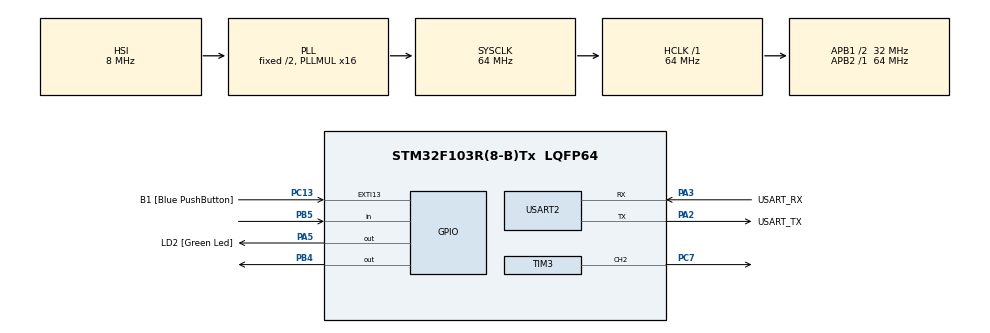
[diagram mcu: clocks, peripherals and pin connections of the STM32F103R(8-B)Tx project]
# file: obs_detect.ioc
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Mcu.Family=STM32F1
Mcu.Name=STM32F103R(8-B)Tx
Mcu.Package=LQFP64
NVIC.EXTI15_10_IRQn=true\:0\:0\:false\:false\:true\:true\:true\:true
NVIC.PriorityGroup=NVIC_PRIORITYGROUP_4
PA13.GPIO_Label=TMS
PA13.Mode=Serial_Wire
PA13.Signal=SYS_JTMS-SWDIO
PA14.GPIO_Label=TCK
PA14.Mode=Serial_Wire
PA14.Signal=SYS_JTCK-SWCLK
PA2.GPIO_Label=USART_TX
PA2.GPIO_Mode=GPIO_MODE_AF_PP
PA2.GPIO_PuPd=GPIO_NOPULL
PA2.GPIO_Speed=GPIO_SPEED_FREQ_LOW
PA2.Mode=Asynchronous
PA2.Signal=USART2_TX
PA3.GPIO_Label=USART_RX
PA3.GPIO_Mode=GPIO_MODE_AF_PP
PA3.GPIO_PuPd=GPIO_NOPULL
PA3.GPIO_Speed=GPIO_SPEED_FREQ_LOW
PA3.Mode=Asynchronous
PA3.Signal=USART2_RX
PA5.GPIO_Label=LD2 [Green Led]
PA5.GPIO_ModeDefaultOutputPP=GPIO_MODE_OUTPUT_PP
PA5.GPIO_PuPd=GPIO_NOPULL
PA5.GPIO_Speed=GPIO_SPEED_FREQ_LOW
PA5.Signal=GPIO_Output
PB3.GPIO_Label=SWO
PB3.Signal=SYS_JTDO-TRACESWO
PB4.Signal=GPIO_Output
PB5.Signal=GPIO_Input
PC13-TAMPER-RTC.GPIO_Label=B1 [Blue PushButton]
PC13-TAMPER-RTC.GPIO_PuPd=GPIO_NOPULL
PC13-TAMPER-RTC.Signal=GPXTI13
PC14-OSC32_IN.Signal=RCC_OSC32_IN
PC15-OSC32_OUT.Signal=RCC_OSC32_OUT
PC7.Signal=S_TIM3_CH2
PD0-OSC_IN.Signal=RCC_OSC_IN
PD1-OSC_OUT.Signal=RCC_OSC_OUT
ProjectManager.HeapSize=0x200
ProjectManager.StackSize=0x400
ProjectManager.TargetToolchain=STM32CubeIDE
RCC.AHBFreq_Value=64000000
RCC.APB1CLKDivider=RCC_HCLK_DIV2
RCC.APB1Freq_Value=32000000
RCC.APB1TimFreq_Value=64000000
RCC.APB2Freq_Value=64000000
RCC.APB2TimFreq_Value=64000000
RCC.HCLKFreq_Value=64000000
RCC.PLLMUL=RCC_PLL_MUL16
RCC.RTCClockSelection=RCC_RTCCLKSOURCE_LSE
RCC.SYSCLKFreq_VALUE=64000000
RCC.SYSCLKSource=RCC_SYSCLKSOURCE_PLLCLK
RCC.USBFreq_Value=64000000
SH.S_TIM3_CH2.0=TIM3_CH2,PWM Generation2 CH2
TIM2.Prescaler=64-1
TIM3.Channel-PWM\ Generation2\ CH2=TIM_CHANNEL_2
TIM3.Prescaler=64-1
USART2.VirtualMode=VM_ASYNC
VP_TIM2_VS_ClockSourceINT.Mode=Internal
VP_TIM3_VS_ClockSourceINT.Mode=Internal
board=NUCLEO-F103RB

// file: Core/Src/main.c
/* USER CODE BEGIN Header */
/**
  ******************************************************************************
  * @file           : main.c
  * @brief          : Main program body
  ******************************************************************************
  * @attention
  *
  * Copyright (c) 2026 STMicroelectronics.
  * All rights reserved.
  *
  * This software is licensed under terms that can be found in the LICENSE file
  * in the root directory of this software component.
  * If no LICENSE file comes with this software, it is provided AS-IS.
  *
  ******************************************************************************
  */
/* USER CODE END Header */
#include "main.h"

/* USER CODE BEGIN Includes */
#include "uart2_printf.h"
#include "delay_us.h"
/* USER CODE END Includes */

/* USER CODE BEGIN PD */
#define HIGH 1
#define LOW 0
/* USER CODE END PD */

TIM_HandleTypeDef htim2;
TIM_HandleTypeDef htim3;

UART_HandleTypeDef huart2;

void SystemClock_Config(void);
static void MX_GPIO_Init(void);
static void MX_TIM2_Init(void);
static void MX_TIM3_Init(void);
static void MX_USART2_UART_Init(void);
/* USER CODE BEGIN PFP */
void trig(void);
uint16_t echo(void);
/* USER CODE END PFP */

int main(void)
{

  /* MCU Configuration--------------------------------------------------------*/

  /* Reset of all peripherals, Initializes the Flash interface and the Systick. */
  HAL_Init();

  /* Configure the system clock */
  SystemClock_Config();

  /* Initialize all configured peripherals */
  MX_GPIO_Init();
  MX_TIM2_Init();
  MX_TIM3_Init();
  MX_USART2_UART_Init();
  /* USER CODE BEGIN 2 */
  	printf("Obstancle Detector with HC_SR04!\n");
  		HAL_TIM_Base_Start(&htim2);
  /* USER CODE END 2 */

  /* Infinite loop */
  /* USER CODE BEGIN WHILE */
  while (1)
  {
	  trig();
	  uint16_t echo_time = echo();
	  if(echo_time == 0) {
		  printf("out of range!\n");
	  }
	  else{
		  uint16_t dist = 17 *echo_time / 100;
		  printf("distane = %d\n", dist);
		  if(dist <500){
			  printf("***\n");
		  }
		  else if(dist < 1000){
			  printf("***\n");
		  }
		  else;
	  }
    /* USER CODE END WHILE */

  }
}

void SystemClock_Config(void)
{
  RCC_OscInitTypeDef RCC_OscInitStruct = {0};
  RCC_ClkInitTypeDef RCC_ClkInitStruct = {0};

  /** Initializes the RCC Oscillators according to the specified parameters
  * in the RCC_OscInitTypeDef structure.
  */
  RCC_OscInitStruct.OscillatorType = RCC_OSCILLATORTYPE_HSI;
  RCC_OscInitStruct.HSIState = RCC_HSI_ON;
  RCC_OscInitStruct.HSICalibrationValue = RCC_HSICALIBRATION_DEFAULT;
  RCC_OscInitStruct.PLL.PLLState = RCC_PLL_ON;
  RCC_OscInitStruct.PLL.PLLSource = RCC_PLLSOURCE_HSI_DIV2;
  RCC_OscInitStruct.PLL.PLLMUL = RCC_PLL_MUL16;
  if (HAL_RCC_OscConfig(&RCC_OscInitStruct) != HAL_OK)
  {
    Error_Handler();
  }

  /** Initializes the CPU, AHB and APB buses clocks
  */
  RCC_ClkInitStruct.ClockType = RCC_CLOCKTYPE_HCLK|RCC_CLOCKTYPE_SYSCLK
                              |RCC_CLOCKTYPE_PCLK1|RCC_CLOCKTYPE_PCLK2;
  RCC_ClkInitStruct.SYSCLKSource = RCC_SYSCLKSOURCE_PLLCLK;
  RCC_ClkInitStruct.AHBCLKDivider = RCC_SYSCLK_DIV1;
  RCC_ClkInitStruct.APB1CLKDivider = RCC_HCLK_DIV2;
  RCC_ClkInitStruct.APB2CLKDivider = RCC_HCLK_DIV1;

  if (HAL_RCC_ClockConfig(&RCC_ClkInitStruct, FLASH_LATENCY_2) != HAL_OK)
  {
    Error_Handler();
  }
}

static void MX_TIM2_Init(void)
{

  TIM_ClockConfigTypeDef sClockSourceConfig = {0};
  TIM_MasterConfigTypeDef sMasterConfig = {0};

  htim2.Instance = TIM2;
  htim2.Init.Prescaler = 64-1;
  htim2.Init.CounterMode = TIM_COUNTERMODE_UP;
  htim2.Init.Period = 65535;
  htim2.Init.ClockDivision = TIM_CLOCKDIVISION_DIV1;
  htim2.Init.AutoReloadPreload = TIM_AUTORELOAD_PRELOAD_DISABLE;
  if (HAL_TIM_Base_Init(&htim2) != HAL_OK)
  {
    Error_Handler();
  }
  sClockSourceConfig.ClockSource = TIM_CLOCKSOURCE_INTERNAL;
  if (HAL_TIM_ConfigClockSource(&htim2, &sClockSourceConfig) != HAL_OK)
  {
    Error_Handler();
  }
  sMasterConfig.MasterOutputTrigger = TIM_TRGO_RESET;
  sMasterConfig.MasterSlaveMode = TIM_MASTERSLAVEMODE_DISABLE;
  if (HAL_TIMEx_MasterConfigSynchronization(&htim2, &sMasterConfig) != HAL_OK)
  {
    Error_Handler();
  }

}

static void MX_TIM3_Init(void)
{

  TIM_ClockConfigTypeDef sClockSourceConfig = {0};
  TIM_MasterConfigTypeDef sMasterConfig = {0};
  TIM_OC_InitTypeDef sConfigOC = {0};

  htim3.Instance = TIM3;
  htim3.Init.Prescaler = 64-1;
  htim3.Init.CounterMode = TIM_COUNTERMODE_UP;
  htim3.Init.Period = 65535;
  htim3.Init.ClockDivision = TIM_CLOCKDIVISION_DIV1;
  htim3.Init.AutoReloadPreload = TIM_AUTORELOAD_PRELOAD_DISABLE;
  if (HAL_TIM_Base_Init(&htim3) != HAL_OK)
  {
    Error_Handler();
  }
  sClockSourceConfig.ClockSource = TIM_CLOCKSOURCE_INTERNAL;
  if (HAL_TIM_ConfigClockSource(&htim3, &sClockSourceConfig) != HAL_OK)
  {
    Error_Handler();
  }
  if (HAL_TIM_PWM_Init(&htim3) != HAL_OK)
  {
    Error_Handler();
  }
  sMasterConfig.MasterOutputTrigger = TIM_TRGO_RESET;
  sMasterConfig.MasterSlaveMode = TIM_MASTERSLAVEMODE_DISABLE;
  if (HAL_TIMEx_MasterConfigSynchronization(&htim3, &sMasterConfig) != HAL_OK)
  {
    Error_Handler();
  }
  sConfigOC.OCMode = TIM_OCMODE_PWM1;
  sConfigOC.Pulse = 0;
  sConfigOC.OCPolarity = TIM_OCPOLARITY_HIGH;
  sConfigOC.OCFastMode = TIM_OCFAST_DISABLE;
  if (HAL_TIM_PWM_ConfigChannel(&htim3, &sConfigOC, TIM_CHANNEL_2) != HAL_OK)
  {
    Error_Handler();
  }
  HAL_TIM_MspPostInit(&htim3);

}

static void MX_USART2_UART_Init(void)
{

  huart2.Instance = USART2;
  huart2.Init.BaudRate = 115200;
  huart2.Init.WordLength = UART_WORDLENGTH_8B;
  huart2.Init.StopBits = UART_STOPBITS_1;
  huart2.Init.Parity = UART_PARITY_NONE;
  huart2.Init.Mode = UART_MODE_TX_RX;
  huart2.Init.HwFlowCtl = UART_HWCONTROL_NONE;
  huart2.Init.OverSampling = UART_OVERSAMPLING_16;
  if (HAL_UART_Init(&huart2) != HAL_OK)
  {
    Error_Handler();
  }

}

static void MX_GPIO_Init(void)
{
  GPIO_InitTypeDef GPIO_InitStruct = {0};

  /* GPIO Ports Clock Enable */
  __HAL_RCC_GPIOC_CLK_ENABLE();
  __HAL_RCC_GPIOD_CLK_ENABLE();
  __HAL_RCC_GPIOA_CLK_ENABLE();
  __HAL_RCC_GPIOB_CLK_ENABLE();

  /*Configure GPIO pin Output Level */
  HAL_GPIO_WritePin(LD2_GPIO_Port, LD2_Pin, GPIO_PIN_RESET);

  /*Configure GPIO pin Output Level */
  HAL_GPIO_WritePin(GPIOB, GPIO_PIN_4, GPIO_PIN_RESET);

  /*Configure GPIO pin : B1_Pin */
  GPIO_InitStruct.Pin = B1_Pin;
  GPIO_InitStruct.Mode = GPIO_MODE_IT_RISING;
  GPIO_InitStruct.Pull = GPIO_NOPULL;
  HAL_GPIO_Init(B1_GPIO_Port, &GPIO_InitStruct);

  /*Configure GPIO pin : LD2_Pin */
  GPIO_InitStruct.Pin = LD2_Pin;
  GPIO_InitStruct.Mode = GPIO_MODE_OUTPUT_PP;
  GPIO_InitStruct.Pull = GPIO_NOPULL;
  GPIO_InitStruct.Speed = GPIO_SPEED_FREQ_LOW;
  HAL_GPIO_Init(LD2_GPIO_Port, &GPIO_InitStruct);

  /*Configure GPIO pin : PB4 */
  GPIO_InitStruct.Pin = GPIO_PIN_4;
  GPIO_InitStruct.Mode = GPIO_MODE_OUTPUT_PP;
  GPIO_InitStruct.Pull = GPIO_NOPULL;
  GPIO_InitStruct.Speed = GPIO_SPEED_FREQ_LOW;
  HAL_GPIO_Init(GPIOB, &GPIO_InitStruct);

  /*Configure GPIO pin : PB5 */
  GPIO_InitStruct.Pin = GPIO_PIN_5;
  GPIO_InitStruct.Mode = GPIO_MODE_INPUT;
  GPIO_InitStruct.Pull = GPIO_NOPULL;
  HAL_GPIO_Init(GPIOB, &GPIO_InitStruct);

  /* EXTI interrupt init*/
  HAL_NVIC_SetPriority(EXTI15_10_IRQn, 0, 0);
  HAL_NVIC_EnableIRQ(EXTI15_10_IRQn);

}

/* USER CODE BEGIN 4 */
void trig()
{
	HAL_GPIO_WritePin(GPIOB, GPIO_PIN_4, HIGH);
	delay_us(10);
	HAL_GPIO_WritePin(GPIOB, GPIO_PIN_4, LOW);
}
uint16_t echo()
{
	uint16_t echo = 0;
	while(HAL_GPIO_ReadPin(GPIOB, GPIO_PIN_5)== LOW);
	unsigned long start = __HAL_TIM_GET_COUNTER(&htim2);
	while(HAL_GPIO_ReadPin(GPIOB, GPIO_PIN_5)== HIGH);
	unsigned long end = __HAL_TIM_GET_COUNTER(&htim2);

	echo =(uint16_t)(end - start);

	if( echo >= 240 && echo <= 23000 )
		return echo;
	else
		return 0;
}
/* USER CODE END 4 */

void Error_Handler(void)
{
  __disable_irq();
  while (1)
  {
  }
}
